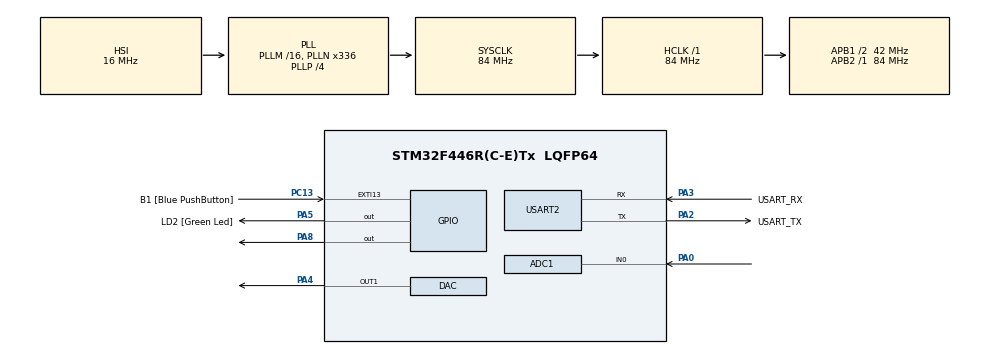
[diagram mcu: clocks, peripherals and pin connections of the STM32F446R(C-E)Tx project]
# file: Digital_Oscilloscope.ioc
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ADC1.Channel-1\#ChannelRegularConversion=ADC_CHANNEL_0
ADC1.ContinuousConvMode=DISABLE
ADC1.EOCSelection=ADC_EOC_SINGLE_CONV
ADC1.ExternalTrigConv=ADC_EXTERNALTRIGCONV_T2_TRGO
ADC1.NbrOfConversion=1
ADC1.NbrOfConversionFlag=1
ADC1.Rank-1\#ChannelRegularConversion=1
ADC1.SamplingTime-1\#ChannelRegularConversion=ADC_SAMPLETIME_480CYCLES
ADC1.master=1
DAC.DAC_Trigger=DAC_TRIGGER_T4_TRGO
Dma.ADC1.0.Direction=DMA_PERIPH_TO_MEMORY
Dma.ADC1.0.FIFOMode=DMA_FIFOMODE_DISABLE
Dma.ADC1.0.Instance=DMA2_Stream0
Dma.ADC1.0.MemDataAlignment=DMA_MDATAALIGN_HALFWORD
Dma.ADC1.0.MemInc=DMA_MINC_ENABLE
Dma.ADC1.0.Mode=DMA_CIRCULAR
Dma.ADC1.0.PeriphDataAlignment=DMA_PDATAALIGN_HALFWORD
Dma.ADC1.0.PeriphInc=DMA_PINC_DISABLE
Dma.ADC1.0.Priority=DMA_PRIORITY_LOW
Dma.DAC1.2.Direction=DMA_MEMORY_TO_PERIPH
Dma.DAC1.2.FIFOMode=DMA_FIFOMODE_DISABLE
Dma.DAC1.2.Instance=DMA1_Stream5
Dma.DAC1.2.MemDataAlignment=DMA_MDATAALIGN_HALFWORD
Dma.DAC1.2.MemInc=DMA_MINC_ENABLE
Dma.DAC1.2.Mode=DMA_CIRCULAR
Dma.DAC1.2.PeriphDataAlignment=DMA_PDATAALIGN_HALFWORD
Dma.DAC1.2.PeriphInc=DMA_PINC_DISABLE
Dma.DAC1.2.Priority=DMA_PRIORITY_LOW
Dma.Request0=ADC1
Dma.Request1=USART2_TX
Dma.Request2=DAC1
Dma.USART2_TX.1.Direction=DMA_MEMORY_TO_PERIPH
Dma.USART2_TX.1.FIFOMode=DMA_FIFOMODE_DISABLE
Dma.USART2_TX.1.Instance=DMA1_Stream6
Dma.USART2_TX.1.MemDataAlignment=DMA_MDATAALIGN_BYTE
Dma.USART2_TX.1.MemInc=DMA_MINC_ENABLE
Dma.USART2_TX.1.Mode=DMA_CIRCULAR
Dma.USART2_TX.1.PeriphDataAlignment=DMA_PDATAALIGN_BYTE
Dma.USART2_TX.1.PeriphInc=DMA_PINC_DISABLE
Dma.USART2_TX.1.Priority=DMA_PRIORITY_LOW
Mcu.Family=STM32F4
Mcu.Name=STM32F446R(C-E)Tx
Mcu.Package=LQFP64
NVIC.ADC_IRQn=true\:0\:0\:false\:false\:true\:true\:true\:true
NVIC.DMA1_Stream5_IRQn=true\:0\:0\:false\:false\:true\:false\:true\:true
NVIC.DMA1_Stream6_IRQn=true\:0\:0\:false\:false\:true\:false\:true\:true
NVIC.DMA2_Stream0_IRQn=true\:0\:0\:false\:false\:true\:false\:true\:true
NVIC.PriorityGroup=NVIC_PRIORITYGROUP_0
NVIC.TIM3_IRQn=true\:0\:0\:false\:false\:true\:true\:true\:true
NVIC.USART2_IRQn=true\:0\:0\:false\:false\:true\:true\:true\:true
PA0-WKUP.Signal=ADCx_IN0
PA13.GPIO_Label=TMS
PA13.Mode=Serial_Wire
PA13.Signal=SYS_JTMS-SWDIO
PA14.GPIO_Label=TCK
PA14.Mode=Serial_Wire
PA14.Signal=SYS_JTCK-SWCLK
PA2.GPIO_Label=USART_TX
PA2.Mode=Asynchronous
PA2.Signal=USART2_TX
PA3.GPIO_Label=USART_RX
PA3.Mode=Asynchronous
PA3.Signal=USART2_RX
PA4.Signal=COMP_DAC1_group
PA5.GPIO_Label=LD2 [Green Led]
PA5.Signal=GPIO_Output
PA8.GPIO_Speed=GPIO_SPEED_FREQ_MEDIUM
PA8.Signal=GPIO_Output
PB3.GPIO_Label=SWO
PB3.Signal=SYS_JTDO-SWO
PC13.GPIO_Label=B1 [Blue PushButton]
PC13.GPIO_ModeDefaultEXTI=GPIO_MODE_IT_FALLING
PC13.Signal=GPXTI13
PC14-OSC32_IN.Mode=LSE-External-Oscillator
PC14-OSC32_IN.Signal=RCC_OSC32_IN
PC15-OSC32_OUT.Mode=LSE-External-Oscillator
PC15-OSC32_OUT.Signal=RCC_OSC32_OUT
PH0-OSC_IN.Mode=HSE-External-Oscillator
PH0-OSC_IN.Signal=RCC_OSC_IN
PH1-OSC_OUT.Mode=HSE-External-Oscillator
PH1-OSC_OUT.Signal=RCC_OSC_OUT
ProjectManager.HeapSize=0x200
ProjectManager.StackSize=0x400
ProjectManager.TargetToolchain=STM32CubeIDE
RCC.48MHZClocksFreq_Value=84000000
RCC.AHBFreq_Value=84000000
RCC.APB1CLKDivider=RCC_HCLK_DIV2
RCC.APB1Freq_Value=42000000
RCC.APB1TimFreq_Value=84000000
RCC.APB2Freq_Value=84000000
RCC.APB2TimFreq_Value=84000000
RCC.CortexFreq_Value=84000000
RCC.FLatency-AdvancedSettings=FLASH_LATENCY_2
RCC.HCLKFreq_Value=84000000
RCC.HSE_VALUE=8000000
RCC.HSI_VALUE=16000000
RCC.PLLN=336
RCC.PLLP=RCC_PLLP_DIV4
RCC.SYSCLKFreq_VALUE=84000000
RCC.SYSCLKSource=RCC_SYSCLKSOURCE_PLLCLK
RCC.USBFreq_Value=168000000
RCC.VCOOutputFreq_Value=336000000
SH.ADCx_IN0.0=ADC1_IN0,IN0
SH.COMP_DAC1_group.0=DAC_OUT1,DAC_OUT1
TIM2.Period=9
TIM2.Prescaler=8399
TIM2.TIM_MasterOutputTrigger=TIM_TRGO_UPDATE
TIM3.Period=99
TIM3.Prescaler=8399
TIM3.TIM_MasterOutputTrigger=TIM_TRGO_UPDATE
TIM4.Period=9
TIM4.Prescaler=839
TIM4.TIM_MasterOutputTrigger=TIM_TRGO_UPDATE
USART2.VirtualMode=VM_ASYNC
VP_TIM2_VS_ClockSourceINT.Mode=Internal
VP_TIM3_VS_ClockSourceINT.Mode=Internal
VP_TIM4_VS_ClockSourceINT.Mode=Internal
board=NUCLEO-F446RE

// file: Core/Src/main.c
/* USER CODE BEGIN Header */
/**
  ******************************************************************************
  * @file           : main.c
  * @brief          : Main program body
  ******************************************************************************
  * @attention
  *
  * Copyright (c) 2026 STMicroelectronics.
  * All rights reserved.
  *
  * This software is licensed under terms that can be found in the LICENSE file
  * in the root directory of this software component.
  * If no LICENSE file comes with this software, it is provided AS-IS.
  *
  ******************************************************************************
  */
/* USER CODE END Header */
#include "main.h"

/* USER CODE BEGIN Includes */
#include <stdio.h>
#include <string.h>
/* USER CODE END Includes */

ADC_HandleTypeDef hadc1;
DMA_HandleTypeDef hdma_adc1;

DAC_HandleTypeDef hdac;
DMA_HandleTypeDef hdma_dac1;

TIM_HandleTypeDef htim2;
TIM_HandleTypeDef htim3;
TIM_HandleTypeDef htim4;

UART_HandleTypeDef huart2;
DMA_HandleTypeDef hdma_usart2_tx;

void SystemClock_Config(void);
static void MX_GPIO_Init(void);
static void MX_DMA_Init(void);
static void MX_ADC1_Init(void);
static void MX_USART2_UART_Init(void);
static void MX_TIM2_Init(void);
static void MX_TIM3_Init(void);
static void MX_DAC_Init(void);
static void MX_TIM4_Init(void);
/* USER CODE BEGIN PFP */
void adc_start();
void adc_debug(volatile uint16_t* buf, int start_add, int end_add);
void process_samples(volatile uint16_t* buf, int start_add, int end_add);
/* USER CODE END PFP */

/* USER CODE BEGIN 0 */

/*-----------GLOBAL VARIABLES---------------*/

#define SAMPLE_CNT 200
#define HALF_BUF_COM 0b00000001
#define FULL_BUF_COM 0b00000011

volatile uint16_t adc_buf[SAMPLE_CNT * 2];
uint8_t uart_tx_buf[(SAMPLE_CNT * 2) + 2];
volatile uint8_t buf_flag = 0;
volatile uint8_t uart_busy = 0;
volatile uint8_t freeze = 0;
uint8_t uart_rx_byte;

// Sine lookup table

const uint16_t sineTable[32] = {
2048,2447,2831,3185,3495,3750,3939,4056,
4095,4056,3939,3750,3495,3185,2831,2447,
2048,1648,1264,910,600,345,156,39,
0,39,156,345,600,910,1264,1648
};

/*-----------HELPER FUNCTIONS---------------*/

int __io_putchar(int ch){
    HAL_UART_Transmit(&huart2, (uint8_t *)&ch, 1, HAL_MAX_DELAY);
    return ch;
}

void adc_start(){
HAL_TIM_Base_Start(&htim2);
HAL_ADC_Start_DMA(&hadc1, (uint32_t*) adc_buf, SAMPLE_CNT * 2);
}

void adc_debug(volatile uint16_t* buf, int start_add, int end_add){
	for (int i = start_add; i < end_add; i++)
	{
		printf("%u\r\n",buf[i]);
	}
}

void uart_dma_tx(volatile uint16_t* buf, int start_add, int end_add){
	if(!uart_busy){
		uart_busy = 1;

		uart_tx_buf[0] = 0xAA;
		uart_tx_buf[1] = 0x55;

		memcpy(&uart_tx_buf[2],(uint8_t*) &buf[start_add], (end_add - start_add) * sizeof(uint16_t));

		HAL_UART_Transmit_DMA(&huart2, (uint8_t*) &uart_tx_buf[0], 2 + (SAMPLE_CNT * sizeof(uint16_t)));
    }
	else{
		HAL_GPIO_TogglePin(GPIOA, GPIO_PIN_5);
	}
}

void process_samples(volatile uint16_t* buf, int start_add, int end_add){

	if (!freeze) {
	uart_dma_tx(buf, start_add, end_add);
//	adc_debug(buf, start_add, end_add);
	}
	buf_flag = 0;
}

/* USER CODE END 0 */

int main(void)
{

  /* MCU Configuration--------------------------------------------------------*/

  /* Reset of all peripherals, Initializes the Flash interface and the Systick. */
  HAL_Init();

  /* Configure the system clock */
  SystemClock_Config();

  /* Initialize all configured peripherals */
  MX_GPIO_Init();
  MX_DMA_Init();
  MX_ADC1_Init();
  MX_USART2_UART_Init();
  MX_TIM2_Init();
  MX_TIM3_Init();
  MX_DAC_Init();
  MX_TIM4_Init();
  /* USER CODE BEGIN 2 */
  adc_start();
  HAL_TIM_Base_Start_IT(&htim3);
  HAL_UART_Receive_IT(&huart2, &uart_rx_byte, 1);
  HAL_DAC_Start_DMA(&hdac, DAC1_CHANNEL_1, (uint32_t*)sineTable, 32, DAC_ALIGN_12B_R);
  HAL_TIM_Base_Start(&htim4);
  /* USER CODE END 2 */

  /* Infinite loop */
  while (1)
  {
	  if(buf_flag == HALF_BUF_COM){
	  	  process_samples(adc_buf, 0, SAMPLE_CNT );
	  }else if(buf_flag == FULL_BUF_COM){
	  	  process_samples(adc_buf, SAMPLE_CNT, SAMPLE_CNT * 2);
	  }
  }
}

void SystemClock_Config(void)
{
  RCC_OscInitTypeDef RCC_OscInitStruct = {0};
  RCC_ClkInitTypeDef RCC_ClkInitStruct = {0};

  /** Configure the main internal regulator output voltage
  */
  __HAL_RCC_PWR_CLK_ENABLE();
  __HAL_PWR_VOLTAGESCALING_CONFIG(PWR_REGULATOR_VOLTAGE_SCALE3);

  /** Initializes the RCC Oscillators according to the specified parameters
  * in the RCC_OscInitTypeDef structure.
  */
  RCC_OscInitStruct.OscillatorType = RCC_OSCILLATORTYPE_HSI;
  RCC_OscInitStruct.HSIState = RCC_HSI_ON;
  RCC_OscInitStruct.HSICalibrationValue = RCC_HSICALIBRATION_DEFAULT;
  RCC_OscInitStruct.PLL.PLLState = RCC_PLL_ON;
  RCC_OscInitStruct.PLL.PLLSource = RCC_PLLSOURCE_HSI;
  RCC_OscInitStruct.PLL.PLLM = 16;
  RCC_OscInitStruct.PLL.PLLN = 336;
  RCC_OscInitStruct.PLL.PLLP = RCC_PLLP_DIV4;
  RCC_OscInitStruct.PLL.PLLQ = 2;
  RCC_OscInitStruct.PLL.PLLR = 2;
  if (HAL_RCC_OscConfig(&RCC_OscInitStruct) != HAL_OK)
  {
    Error_Handler();
  }

  /** Initializes the CPU, AHB and APB buses clocks
  */
  RCC_ClkInitStruct.ClockType = RCC_CLOCKTYPE_HCLK|RCC_CLOCKTYPE_SYSCLK
                              |RCC_CLOCKTYPE_PCLK1|RCC_CLOCKTYPE_PCLK2;
  RCC_ClkInitStruct.SYSCLKSource = RCC_SYSCLKSOURCE_PLLCLK;
  RCC_ClkInitStruct.AHBCLKDivider = RCC_SYSCLK_DIV1;
  RCC_ClkInitStruct.APB1CLKDivider = RCC_HCLK_DIV2;
  RCC_ClkInitStruct.APB2CLKDivider = RCC_HCLK_DIV1;

  if (HAL_RCC_ClockConfig(&RCC_ClkInitStruct, FLASH_LATENCY_2) != HAL_OK)
  {
    Error_Handler();
  }
}

static void MX_ADC1_Init(void)
{

  ADC_ChannelConfTypeDef sConfig = {0};

  /** Configure the global features of the ADC (Clock, Resolution, Data Alignment and number of conversion)
  */
  hadc1.Instance = ADC1;
  hadc1.Init.ClockPrescaler = ADC_CLOCK_SYNC_PCLK_DIV4;
  hadc1.Init.Resolution = ADC_RESOLUTION_12B;
  hadc1.Init.ScanConvMode = DISABLE;
  hadc1.Init.ContinuousConvMode = DISABLE;
  hadc1.Init.DiscontinuousConvMode = DISABLE;
  hadc1.Init.ExternalTrigConvEdge = ADC_EXTERNALTRIGCONVEDGE_RISING;
  hadc1.Init.ExternalTrigConv = ADC_EXTERNALTRIGCONV_T2_TRGO;
  hadc1.Init.DataAlign = ADC_DATAALIGN_RIGHT;
  hadc1.Init.NbrOfConversion = 1;
  hadc1.Init.DMAContinuousRequests = ENABLE;
  hadc1.Init.EOCSelection = ADC_EOC_SINGLE_CONV;
  if (HAL_ADC_Init(&hadc1) != HAL_OK)
  {
    Error_Handler();
  }

  /** Configure for the selected ADC regular channel its corresponding rank in the sequencer and its sample time.
  */
  sConfig.Channel = ADC_CHANNEL_0;
  sConfig.Rank = 1;
  sConfig.SamplingTime = ADC_SAMPLETIME_480CYCLES;
  if (HAL_ADC_ConfigChannel(&hadc1, &sConfig) != HAL_OK)
  {
    Error_Handler();
  }

}

static void MX_DAC_Init(void)
{

  DAC_ChannelConfTypeDef sConfig = {0};

  /** DAC Initialization
  */
  hdac.Instance = DAC;
  if (HAL_DAC_Init(&hdac) != HAL_OK)
  {
    Error_Handler();
  }

  /** DAC channel OUT1 config
  */
  sConfig.DAC_Trigger = DAC_TRIGGER_T4_TRGO;
  sConfig.DAC_OutputBuffer = DAC_OUTPUTBUFFER_ENABLE;
  if (HAL_DAC_ConfigChannel(&hdac, &sConfig, DAC_CHANNEL_1) != HAL_OK)
  {
    Error_Handler();
  }

}

static void MX_TIM2_Init(void)
{

  TIM_ClockConfigTypeDef sClockSourceConfig = {0};
  TIM_MasterConfigTypeDef sMasterConfig = {0};

  htim2.Instance = TIM2;
  htim2.Init.Prescaler = 839;
  htim2.Init.CounterMode = TIM_COUNTERMODE_UP;
  htim2.Init.Period = 9;
  htim2.Init.ClockDivision = TIM_CLOCKDIVISION_DIV1;
  htim2.Init.AutoReloadPreload = TIM_AUTORELOAD_PRELOAD_DISABLE;
  if (HAL_TIM_Base_Init(&htim2) != HAL_OK)
  {
    Error_Handler();
  }
  sClockSourceConfig.ClockSource = TIM_CLOCKSOURCE_INTERNAL;
  if (HAL_TIM_ConfigClockSource(&htim2, &sClockSourceConfig) != HAL_OK)
  {
    Error_Handler();
  }
  sMasterConfig.MasterOutputTrigger = TIM_TRGO_UPDATE;
  sMasterConfig.MasterSlaveMode = TIM_MASTERSLAVEMODE_DISABLE;
  if (HAL_TIMEx_MasterConfigSynchronization(&htim2, &sMasterConfig) != HAL_OK)
  {
    Error_Handler();
  }

}

static void MX_TIM3_Init(void)
{

  TIM_ClockConfigTypeDef sClockSourceConfig = {0};
  TIM_MasterConfigTypeDef sMasterConfig = {0};

  htim3.Instance = TIM3;
  htim3.Init.Prescaler = 8399;
  htim3.Init.CounterMode = TIM_COUNTERMODE_UP;
  htim3.Init.Period = 99;
  htim3.Init.ClockDivision = TIM_CLOCKDIVISION_DIV1;
  htim3.Init.AutoReloadPreload = TIM_AUTORELOAD_PRELOAD_DISABLE;
  if (HAL_TIM_Base_Init(&htim3) != HAL_OK)
  {
    Error_Handler();
  }
  sClockSourceConfig.ClockSource = TIM_CLOCKSOURCE_INTERNAL;
  if (HAL_TIM_ConfigClockSource(&htim3, &sClockSourceConfig) != HAL_OK)
  {
    Error_Handler();
  }
  sMasterConfig.MasterOutputTrigger = TIM_TRGO_UPDATE;
  sMasterConfig.MasterSlaveMode = TIM_MASTERSLAVEMODE_DISABLE;
  if (HAL_TIMEx_MasterConfigSynchronization(&htim3, &sMasterConfig) != HAL_OK)
  {
    Error_Handler();
  }

}

static void MX_TIM4_Init(void)
{

  TIM_ClockConfigTypeDef sClockSourceConfig = {0};
  TIM_MasterConfigTypeDef sMasterConfig = {0};

  htim4.Instance = TIM4;
  htim4.Init.Prescaler = 839;
  htim4.Init.CounterMode = TIM_COUNTERMODE_UP;
  htim4.Init.Period = 9;
  htim4.Init.ClockDivision = TIM_CLOCKDIVISION_DIV1;
  htim4.Init.AutoReloadPreload = TIM_AUTORELOAD_PRELOAD_DISABLE;
  if (HAL_TIM_Base_Init(&htim4) != HAL_OK)
  {
    Error_Handler();
  }
  sClockSourceConfig.ClockSource = TIM_CLOCKSOURCE_INTERNAL;
  if (HAL_TIM_ConfigClockSource(&htim4, &sClockSourceConfig) != HAL_OK)
  {
    Error_Handler();
  }
  sMasterConfig.MasterOutputTrigger = TIM_TRGO_UPDATE;
  sMasterConfig.MasterSlaveMode = TIM_MASTERSLAVEMODE_DISABLE;
  if (HAL_TIMEx_MasterConfigSynchronization(&htim4, &sMasterConfig) != HAL_OK)
  {
    Error_Handler();
  }

}

static void MX_USART2_UART_Init(void)
{

  huart2.Instance = USART2;
  huart2.Init.BaudRate = 921600;
  huart2.Init.WordLength = UART_WORDLENGTH_8B;
  huart2.Init.StopBits = UART_STOPBITS_1;
  huart2.Init.Parity = UART_PARITY_NONE;
  huart2.Init.Mode = UART_MODE_TX_RX;
  huart2.Init.HwFlowCtl = UART_HWCONTROL_NONE;
  huart2.Init.OverSampling = UART_OVERSAMPLING_16;
  if (HAL_UART_Init(&huart2) != HAL_OK)
  {
    Error_Handler();
  }

}

static void MX_DMA_Init(void)
{

  /* DMA controller clock enable */
  __HAL_RCC_DMA2_CLK_ENABLE();
  __HAL_RCC_DMA1_CLK_ENABLE();

  /* DMA interrupt init */
  /* DMA1_Stream5_IRQn interrupt configuration */
  HAL_NVIC_SetPriority(DMA1_Stream5_IRQn, 0, 0);
  HAL_NVIC_EnableIRQ(DMA1_Stream5_IRQn);
  /* DMA1_Stream6_IRQn interrupt configuration */
  HAL_NVIC_SetPriority(DMA1_Stream6_IRQn, 0, 0);
  HAL_NVIC_EnableIRQ(DMA1_Stream6_IRQn);
  /* DMA2_Stream0_IRQn interrupt configuration */
  HAL_NVIC_SetPriority(DMA2_Stream0_IRQn, 0, 0);
  HAL_NVIC_EnableIRQ(DMA2_Stream0_IRQn);

}

static void MX_GPIO_Init(void)
{
  GPIO_InitTypeDef GPIO_InitStruct = {0};

  /* GPIO Ports Clock Enable */
  __HAL_RCC_GPIOC_CLK_ENABLE();
  __HAL_RCC_GPIOH_CLK_ENABLE();
  __HAL_RCC_GPIOA_CLK_ENABLE();
  __HAL_RCC_GPIOB_CLK_ENABLE();

  /*Configure GPIO pin Output Level */
  HAL_GPIO_WritePin(GPIOA, LD2_Pin|GPIO_PIN_8, GPIO_PIN_RESET);

  /*Configure GPIO pin : B1_Pin */
  GPIO_InitStruct.Pin = B1_Pin;
  GPIO_InitStruct.Mode = GPIO_MODE_IT_FALLING;
  GPIO_InitStruct.Pull = GPIO_NOPULL;
  HAL_GPIO_Init(B1_GPIO_Port, &GPIO_InitStruct);

  /*Configure GPIO pin : LD2_Pin */
  GPIO_InitStruct.Pin = LD2_Pin;
  GPIO_InitStruct.Mode = GPIO_MODE_OUTPUT_PP;
  GPIO_InitStruct.Pull = GPIO_NOPULL;
  GPIO_InitStruct.Speed = GPIO_SPEED_FREQ_LOW;
  HAL_GPIO_Init(LD2_GPIO_Port, &GPIO_InitStruct);

  /*Configure GPIO pin : PA8 */
  GPIO_InitStruct.Pin = GPIO_PIN_8;
  GPIO_InitStruct.Mode = GPIO_MODE_OUTPUT_PP;
  GPIO_InitStruct.Pull = GPIO_NOPULL;
  GPIO_InitStruct.Speed = GPIO_SPEED_FREQ_MEDIUM;
  HAL_GPIO_Init(GPIOA, &GPIO_InitStruct);

}

/* USER CODE BEGIN 4 */

void HAL_ADC_ConvHalfCpltCallback(ADC_HandleTypeDef* hadc){
	if(hadc->Instance == ADC1)
	    {

//     		HAL_GPIO_TogglePin(LD2_GPIO_Port, LD2_Pin);
		    buf_flag = HALF_BUF_COM;

	    }
}
void HAL_ADC_ConvCpltCallback(ADC_HandleTypeDef* hadc){
	if(hadc->Instance == ADC1)
	    {
		buf_flag = FULL_BUF_COM;
	    }
}

void HAL_UART_TxCpltCallback(UART_HandleTypeDef* huart){
	if(huart->Instance == USART2)
	{
		uart_busy = 0;
	}
}

void HAL_TIM_PeriodElapsedCallback(TIM_HandleTypeDef* htim){
	if (htim->Instance == TIM3) {
		HAL_GPIO_TogglePin(GPIOA, GPIO_PIN_8);
	}
}

void HAL_UART_RxCpltCallback(UART_HandleTypeDef* huart){

    HAL_GPIO_TogglePin(LD2_GPIO_Port, LD2_Pin);

    if (huart->Instance == USART2) {

        if (uart_rx_byte == '1') {

            freeze = 1;

            HAL_GPIO_WritePin(GPIOA, GPIO_PIN_5, 1);

            __HAL_TIM_DISABLE(&htim2);

        } else if (uart_rx_byte == '0') {

            freeze = 0;

            HAL_GPIO_WritePin(GPIOA, GPIO_PIN_5, 0);

            __HAL_TIM_ENABLE(&htim2);
        }

        HAL_UART_Receive_IT(&huart2, &uart_rx_byte, 1);
    }
}

/* USER CODE END 4 */

void Error_Handler(void)
{
  __disable_irq();
  while (1)
  {
  }
}
